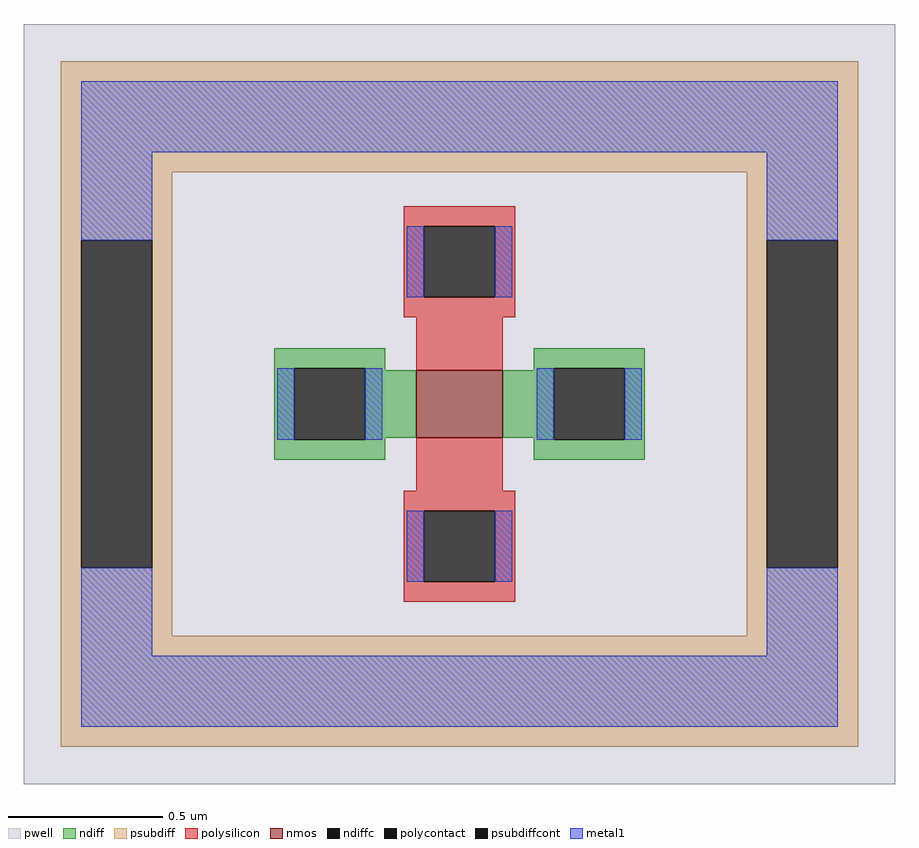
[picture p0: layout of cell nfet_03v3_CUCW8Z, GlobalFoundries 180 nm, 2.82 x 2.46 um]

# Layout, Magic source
magic
tech gf180mcuD
magscale 1 10
<< pwell >>
rect -282 -246 282 246
<< nmos >>
rect -28 -22 28 22
<< ndiff >>
rect -120 23 -48 36
rect -120 -23 -107 23
rect -61 22 -48 23
rect 48 23 120 36
rect 48 22 61 23
rect -61 -22 -28 22
rect 28 -22 61 22
rect -61 -23 -48 -22
rect -120 -36 -48 -23
rect 48 -23 61 -22
rect 107 -23 120 23
rect 48 -36 120 -23
<< ndiffc >>
rect -107 -23 -61 23
rect 61 -23 107 23
<< psubdiff >>
rect -258 150 258 222
rect -258 106 -186 150
rect -258 -106 -245 106
rect -199 -106 -186 106
rect 186 106 258 150
rect -258 -150 -186 -106
rect 186 -106 199 106
rect 245 -106 258 106
rect 186 -150 258 -106
rect -258 -222 258 -150
<< psubdiffcont >>
rect -245 -106 -199 106
rect 199 -106 245 106
<< polysilicon >>
rect -36 115 36 128
rect -36 69 -23 115
rect 23 69 36 115
rect -36 56 36 69
rect -28 22 28 56
rect -28 -56 28 -22
rect -36 -69 36 -56
rect -36 -115 -23 -69
rect 23 -115 36 -69
rect -36 -128 36 -115
<< polycontact >>
rect -23 69 23 115
rect -23 -115 23 -69
<< metal1 >>
rect -245 163 245 209
rect -245 106 -199 163
rect -34 69 -23 115
rect 23 69 34 115
rect 199 106 245 163
rect -118 -23 -107 23
rect -61 -23 -50 23
rect 50 -23 61 23
rect 107 -23 118 23
rect -245 -163 -199 -106
rect -34 -115 -23 -69
rect 23 -115 34 -69
rect 199 -163 245 -106
rect -245 -209 245 -163
<< properties >>
string FIXED_BBOX -222 -186 222 186
string gencell nfet_03v3
string library gf180mcu
string nfet_03v3_CUCW8Z parameters
string parameters w 0.220 l 0.280 m 1 nf 1 diffcov 50 polycov 100 guard 1 glc 1 grc 1 gtc 0 gbc 0 tbcov 100 rlcov 100 topc 1 botc 1 poverlap 0 doverlap 1 lmin 0.28 wmin 0.22 class mosfet full_metal 1 compatible {nfet_03v3 nfet_06v0 nfet_06v0_nvt}
<< end >>
